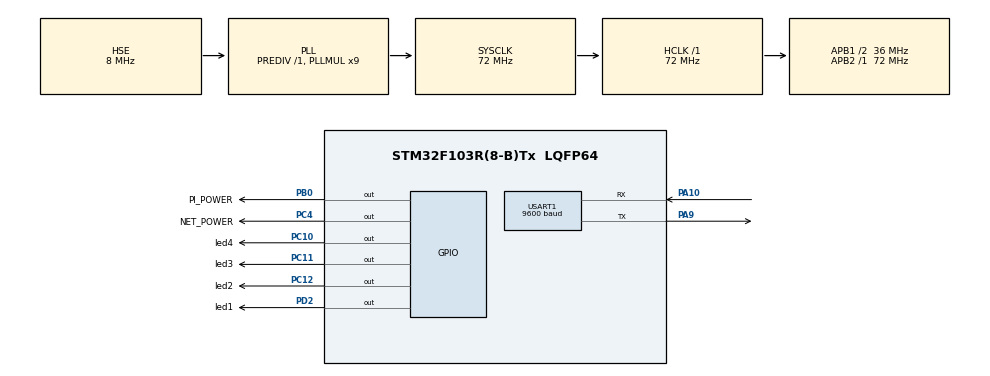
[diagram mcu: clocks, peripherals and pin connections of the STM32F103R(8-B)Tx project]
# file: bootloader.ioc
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Dma.Request0=USART1_RX
Dma.Request1=USART1_TX
Dma.USART1_RX.0.Direction=DMA_PERIPH_TO_MEMORY
Dma.USART1_RX.0.Instance=DMA1_Channel5
Dma.USART1_RX.0.MemDataAlignment=DMA_MDATAALIGN_BYTE
Dma.USART1_RX.0.MemInc=DMA_MINC_ENABLE
Dma.USART1_RX.0.Mode=DMA_CIRCULAR
Dma.USART1_RX.0.PeriphDataAlignment=DMA_PDATAALIGN_BYTE
Dma.USART1_RX.0.PeriphInc=DMA_PINC_DISABLE
Dma.USART1_RX.0.Priority=DMA_PRIORITY_HIGH
Dma.USART1_TX.1.Direction=DMA_MEMORY_TO_PERIPH
Dma.USART1_TX.1.Instance=DMA1_Channel4
Dma.USART1_TX.1.MemDataAlignment=DMA_MDATAALIGN_BYTE
Dma.USART1_TX.1.MemInc=DMA_MINC_ENABLE
Dma.USART1_TX.1.Mode=DMA_NORMAL
Dma.USART1_TX.1.PeriphDataAlignment=DMA_PDATAALIGN_BYTE
Dma.USART1_TX.1.PeriphInc=DMA_PINC_DISABLE
Dma.USART1_TX.1.Priority=DMA_PRIORITY_LOW
Mcu.Family=STM32F1
Mcu.Name=STM32F103R(8-B)Tx
Mcu.Package=LQFP64
NVIC.DMA1_Channel4_IRQn=true\:0\:0\:false\:false\:true\:false\:true
NVIC.DMA1_Channel5_IRQn=true\:0\:0\:false\:false\:true\:false\:true
NVIC.PriorityGroup=NVIC_PRIORITYGROUP_4
NVIC.USART1_IRQn=true\:0\:0\:false\:false\:true\:true\:true
PA10.Mode=Asynchronous
PA10.Signal=USART1_RX
PA13.Mode=JTAG_4_pins
PA13.Signal=SYS_JTMS-SWDIO
PA14.Mode=JTAG_4_pins
PA14.Signal=SYS_JTCK-SWCLK
PA15.Mode=JTAG_4_pins
PA15.Signal=SYS_JTDI
PA9.Mode=Asynchronous
PA9.Signal=USART1_TX
PB0.GPIO_Label=PI_POWER
PB0.PinState=GPIO_PIN_SET
PB0.Signal=GPIO_Output
PB3.Mode=JTAG_4_pins
PB3.Signal=SYS_JTDO-TRACESWO
PC10.GPIO_Label=led4
PC10.GPIO_PuPd=GPIO_PULLUP
PC10.PinState=GPIO_PIN_RESET
PC10.Signal=GPIO_Output
PC11.GPIO_Label=led3
PC11.GPIO_PuPd=GPIO_PULLUP
PC11.Signal=GPIO_Output
PC12.GPIO_Label=led2
PC12.GPIO_PuPd=GPIO_PULLUP
PC12.PinState=GPIO_PIN_RESET
PC12.Signal=GPIO_Output
PC4.GPIO_Label=NET_POWER
PC4.Signal=GPIO_Output
PD0-OSC_IN.Mode=HSE-External-Oscillator
PD0-OSC_IN.Signal=RCC_OSC_IN
PD1-OSC_OUT.Mode=HSE-External-Oscillator
PD1-OSC_OUT.Signal=RCC_OSC_OUT
PD2.GPIO_Label=led1
PD2.GPIO_PuPd=GPIO_PULLUP
PD2.GPIO_Speed=GPIO_SPEED_FREQ_LOW
PD2.PinState=GPIO_PIN_SET
PD2.Signal=GPIO_Output
ProjectManager.HeapSize=0x2000
ProjectManager.StackSize=0x400
ProjectManager.TargetToolchain=MDK-ARM V5
RCC.AHBFreq_Value=72000000
RCC.APB1CLKDivider=RCC_HCLK_DIV2
RCC.APB1Freq_Value=36000000
RCC.APB1TimFreq_Value=72000000
RCC.APB2Freq_Value=72000000
RCC.APB2TimFreq_Value=72000000
RCC.HCLKFreq_Value=72000000
RCC.PLLMUL=RCC_PLL_MUL9
RCC.PLLSourceVirtual=RCC_PLLSOURCE_HSE
RCC.SYSCLKFreq_VALUE=72000000
RCC.SYSCLKSource=RCC_SYSCLKSOURCE_PLLCLK
RCC.USBFreq_Value=72000000
USART1.BaudRate=9600
USART1.VirtualMode=VM_ASYNC
VP_CRC_VS_CRC.Mode=CRC_Activate
board=custom

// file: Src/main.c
/* USER CODE BEGIN Header */
/**
  ******************************************************************************
  * @file           : main.c
  * @brief          : Main program body
  ******************************************************************************
  * @attention
  *
  * <h2><center>&copy; Copyright (c) 2019 STMicroelectronics.
  * All rights reserved.</center></h2>
  *
  * This software component is licensed by ST under BSD 3-Clause license,
  * the "License"; You may not use this file except in compliance with the
  * License. You may obtain a copy of the License at:
  *                        opensource.org/licenses/BSD-3-Clause
  *
  ******************************************************************************
  */
/* USER CODE END Header */

#include "main.h"
#include "crc.h"
#include "dma.h"
#include "usart.h"
#include "gpio.h"

/* USER CODE BEGIN Includes */
#include "bootloader.h"
#include <string.h>
#include "debug.h"
#include "bootcmd.h"
/* USER CODE END Includes */

void SystemClock_Config(void);

/* USER CODE BEGIN 0 */
  /*! 重定向printf到串口1*/
	#ifdef __GNUC_
	#define PUTCHAR_PROTOTYPE int __io_putchar(int ch)
	#else
	#define PUTCHAR_PROTOTYPE int fputc(int ch, FILE *f)
	#endif
	PUTCHAR_PROTOTYPE
	{
		HAL_UART_Transmit(&huart1, (uint8_t *)&ch, 1, 2);
		return ch;
	}
/* USER CODE END 0 */

int main(void)
{

  /* MCU Configuration--------------------------------------------------------*/

  /* Reset of all peripherals, Initializes the Flash interface and the Systick. */
  HAL_Init();

  /* Configure the system clock */
  SystemClock_Config();

  /* Initialize all configured peripherals */
  MX_GPIO_Init();
  MX_DMA_Init();
  MX_USART1_UART_Init();
  MX_CRC_Init();
  /* USER CODE BEGIN 2 */
	__HAL_UART_ENABLE_IT(&huart1, UART_IT_IDLE);//使能idle中断
	DEBUG("boot start.");
  /* USER CODE END 2 */

  /* Infinite loop */

    /* USER CODE BEGIN 3 */

     DoLoop();
    //FlashTest();

  /* USER CODE END 3 */
}

void SystemClock_Config(void)
{
  RCC_OscInitTypeDef RCC_OscInitStruct = {0};
  RCC_ClkInitTypeDef RCC_ClkInitStruct = {0};

  /** Initializes the CPU, AHB and APB busses clocks
  */
  RCC_OscInitStruct.OscillatorType = RCC_OSCILLATORTYPE_HSE;
  RCC_OscInitStruct.HSEState = RCC_HSE_ON;
  RCC_OscInitStruct.HSEPredivValue = RCC_HSE_PREDIV_DIV1;
  RCC_OscInitStruct.HSIState = RCC_HSI_ON;
  RCC_OscInitStruct.PLL.PLLState = RCC_PLL_ON;
  RCC_OscInitStruct.PLL.PLLSource = RCC_PLLSOURCE_HSE;
  RCC_OscInitStruct.PLL.PLLMUL = RCC_PLL_MUL9;
  if (HAL_RCC_OscConfig(&RCC_OscInitStruct) != HAL_OK)
  {
    Error_Handler();
  }
  /** Initializes the CPU, AHB and APB busses clocks
  */
  RCC_ClkInitStruct.ClockType = RCC_CLOCKTYPE_HCLK|RCC_CLOCKTYPE_SYSCLK
                              |RCC_CLOCKTYPE_PCLK1|RCC_CLOCKTYPE_PCLK2;
  RCC_ClkInitStruct.SYSCLKSource = RCC_SYSCLKSOURCE_PLLCLK;
  RCC_ClkInitStruct.AHBCLKDivider = RCC_SYSCLK_DIV1;
  RCC_ClkInitStruct.APB1CLKDivider = RCC_HCLK_DIV2;
  RCC_ClkInitStruct.APB2CLKDivider = RCC_HCLK_DIV1;

  if (HAL_RCC_ClockConfig(&RCC_ClkInitStruct, FLASH_LATENCY_2) != HAL_OK)
  {
    Error_Handler();
  }
}

void Error_Handler(void)
{
}

/************************ (C) COPYRIGHT STMicroelectronics *****END OF FILE****/
